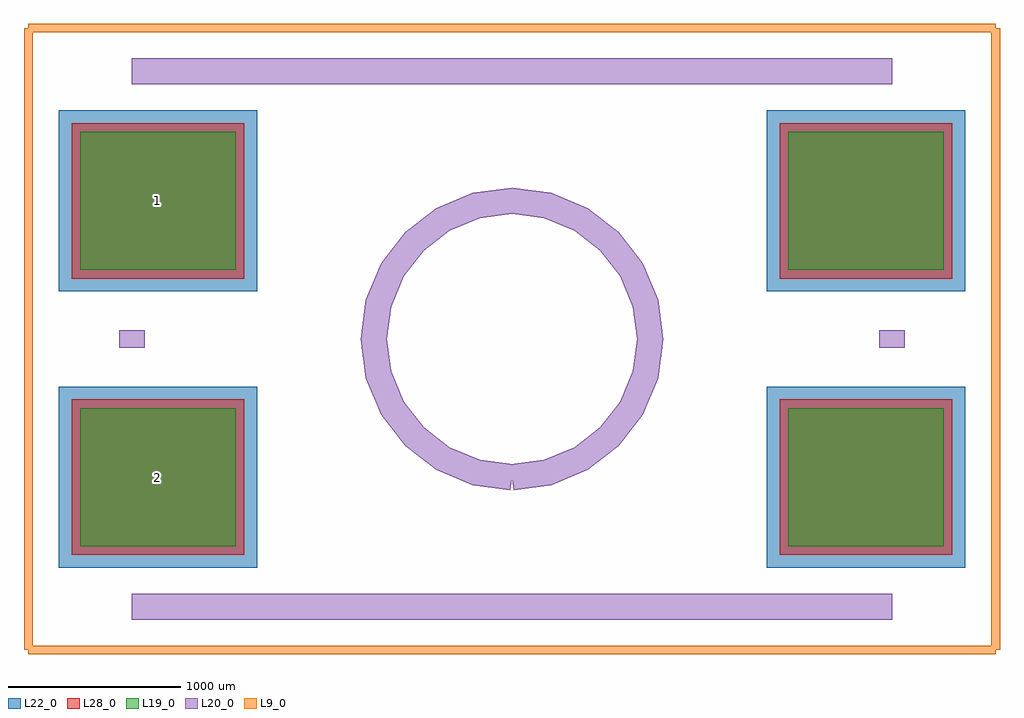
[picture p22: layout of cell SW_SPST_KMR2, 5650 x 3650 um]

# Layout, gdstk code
import gdstk
lib = gdstk.Library(unit=1e-6, precision=1e-09)
def R(c, l, rs):  # rectangles x0, y0, x1, y1
    for r in rs: c.add(gdstk.rectangle(r[:2], r[2:], *l))
L9_0 = (9, 0)
L19_0 = (19, 0)
L20_0 = (20, 0)
L22_0 = (22, 0)
L28_0 = (28, 0)

sw_spst_kmr2 = lib.new_cell('SW_SPST_KMR2')
R(sw_spst_kmr2, L19_0, [(-2500,-1200,-1600,-400), (1600,-1200,2500,-400), (-2500,400,-1600,1200), (1600,400,2500,1200)])
R(sw_spst_kmr2, L22_0, [(-2625,-1325,-1475,-275), (1475,-1325,2625,-275), (-2625,275,-1475,1325), (1475,275,2625,1325)])
R(sw_spst_kmr2, L28_0, [(-2550,-1250,-1550,-350), (1550,-1250,2550,-350), (-2550,350,-1550,1250), (1550,350,2550,1250)])
sw_spst_kmr2.add(gdstk.FlexPath([(-2200,-50),(-2200,50)], 149.998, ends="flush", simple_path=True, layer=20, datatype=0))  # L20_0
sw_spst_kmr2.add(gdstk.FlexPath([(2200,1550),(-2200,1550)], 149.998, ends="flush", simple_path=True, layer=20, datatype=0))  # L20_0
sw_spst_kmr2.add(gdstk.FlexPath([(-2200,-1550),(2200,-1550)], 149.998, ends="flush", simple_path=True, layer=20, datatype=0))  # L20_0
sw_spst_kmr2.add(gdstk.FlexPath([(0,-800),(207.055,-772.741),(400,-692.82),(565.685,-565.685),(692.82,-400),(772.741,-207.055),(800,0),(772.741,207.055),(692.82,400),(565.685,565.685),(400,692.82),(207.055,772.741),(0,800),(-207.055,772.741),(-400,692.82),(-565.685,565.685),(-692.82,400),(-772.741,207.055),(-800,0),(-772.741,-207.055),(-692.82,-400),(-565.685,-565.685),(-400,-692.82),(-207.055,-772.741),(0,-800)], 149.998, ends="flush", simple_path=True, layer=20, datatype=0))  # L20_0
sw_spst_kmr2.add(gdstk.FlexPath([(-2800,-1800),(-2800,1800)], 50, ends="flush", simple_path=True, layer=9, datatype=0))  # L9_0
sw_spst_kmr2.add(gdstk.FlexPath([(2800,-1800),(-2800,-1800)], 50, ends="flush", simple_path=True, layer=9, datatype=0))  # L9_0
sw_spst_kmr2.add(gdstk.FlexPath([(2800,1800),(2800,-1800)], 50, ends="flush", simple_path=True, layer=9, datatype=0))  # L9_0
sw_spst_kmr2.add(gdstk.FlexPath([(-2800,1800),(2800,1800)], 50, ends="flush", simple_path=True, layer=9, datatype=0))  # L9_0
sw_spst_kmr2.add(gdstk.FlexPath([(2200,-50),(2200,50)], 149.998, ends="flush", simple_path=True, layer=20, datatype=0))  # L20_0
sw_spst_kmr2.add(gdstk.Label('2', (-2050,-800), layer=28, texttype=0))
sw_spst_kmr2.add(gdstk.Label('1', (-2050,800), layer=28, texttype=0))
sw_spst_kmr2.add(gdstk.Label('type', (0,-2550), layer=9, texttype=0))
sw_spst_kmr2.add(gdstk.Label('devicename', (0,2450), layer=9, texttype=0))

lib.write_gds('SW_SPST_KMR2.gds')
